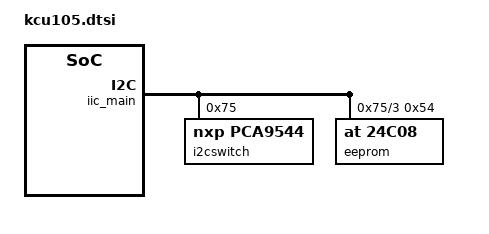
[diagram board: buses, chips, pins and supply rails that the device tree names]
/ {
	hard-reset-gpios = <&reset_gpio 0 1>;
};

&iic_main {
	#address-cells = <1>;
	#size-cells = <0>;
	i2cswitch@75 {
		compatible = "nxp,pca9544";
		#address-cells = <1>;
		#size-cells = <0>;
		reg = <0x75>;
		i2c@3 {
			#address-cells = <1>;
			#size-cells = <0>;
			reg = <3>;
			eeprom@54 {
				compatible = "at,24c08";
				reg = <0x54>;
			};
		};
	};
};
